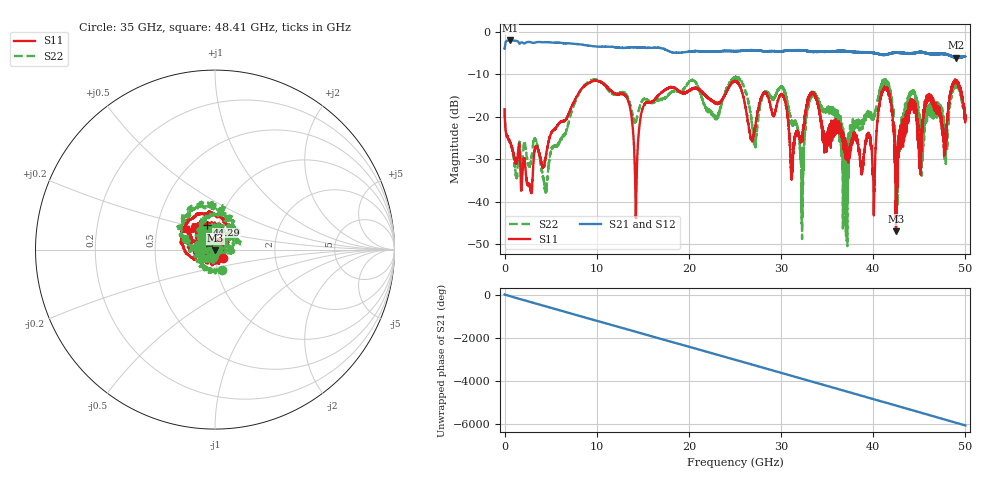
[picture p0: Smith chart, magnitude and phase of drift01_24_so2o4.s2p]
!Created with skrf (http://scikit-rf.org).
# Hz S RI R 50.0
!freq ReS11 ImS11 ReS21 ImS21 ReS12 ImS12 ReS22 ImS22
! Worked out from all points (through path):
!   10001 points, 300 kHz to 50 GHz, reference 50 ohm
!   highest |S21| = -2.00 dB at 600.3 MHz (marker M1); lowest = -6.1 dB at 49.02 GHz (marker M2)
!   group delay of S21, straight-line fit = 336 ps
!   lowest |S11| = -47.0 dB at 42.47 GHz (marker M3), VSWR 1.01, Z = 50.2 - j0.403 ohm
!   |S11| at or under -10 dB: start of sweep to end of sweep
!   |S22| runs from -50.5 to -10.6 dB; largest |S21 - S12| = 0.018
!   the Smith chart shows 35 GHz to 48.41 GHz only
!   S11 on the Smith chart (normalised r, x): 35 GHz: 1.08, -0.11; 44.29 GHz: 0.88, +0.25; 48.41 GHz: 0.70, +0.17
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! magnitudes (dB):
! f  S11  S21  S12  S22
! 300 kHz  -18.2  -4.0  -4.1  -18.1
! 600.3 MHz  -26.0  -2.0  -2.0  -26.2
! 4.44 GHz  -29.9  -2.4  -2.4  -37.6
! 8.335 GHz  -13.5  -3.0  -3.0  -13.5
! 13.16 GHz  -15.1  -3.8  -3.7  -14.7
! 14.25 GHz  -43.3  -3.6  -3.6  -21.1
! 16.67 GHz  -14.9  -3.7  -3.7  -15.9
! 25 GHz  -11.6  -4.5  -4.6  -10.9
! 27.15 GHz  -22.8  -4.3  -4.3  -26.4
! 30.21 GHz  -15.1  -4.5  -4.5  -13.4
! 32.25 GHz  -24.8  -4.4  -4.3  -39.7
! 33.34 GHz  -14.3  -4.7  -4.6  -14.9
! 35 GHz  -23.8  -4.6  -4.6  -18.2
! 37.05 GHz  -27.6  -4.6  -4.5  -42.0
! 40.06 GHz  -42.1  -5.0  -5.0  -20.4
! 41.67 GHz  -14.3  -5.1  -5.2  -12.6
! 42.47 GHz  -47.0  -4.8  -4.9  -32.6
! 44.29 GHz  -16.7  -5.0  -5.0  -14.0
! 45.33 GHz  -21.5  -4.7  -4.8  -25.4
! 48.41 GHz  -14.0  -5.7  -5.7  -15.0
! 49.02 GHz  -11.7  -6.1  -6.0  -12.5
! 50 GHz  -19.7  -5.8  -5.8  -19.6
